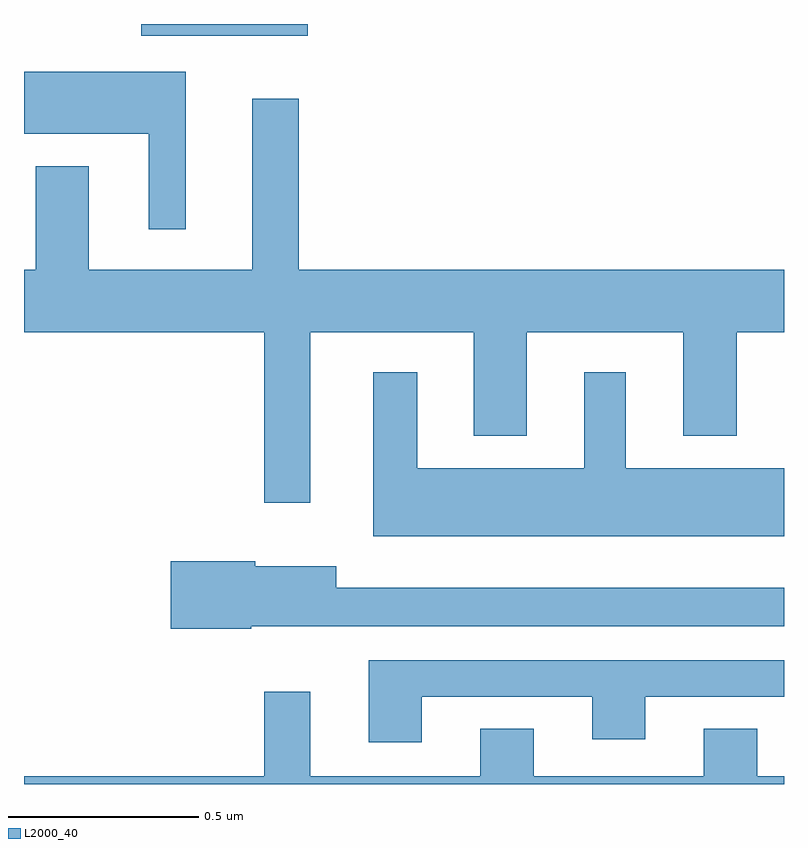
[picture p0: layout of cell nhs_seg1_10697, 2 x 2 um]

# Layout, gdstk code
import gdstk
lib = gdstk.Library(unit=1e-6, precision=1e-09)
def R(c, l, rs):  # rectangles x0, y0, x1, y1
    for r in rs: c.add(gdstk.rectangle(r[:2], r[2:], *l))
def P(c, l, *ps):  # polygons
    for p in ps: c.add(gdstk.Polygon(p, *l))
L2000_40 = (2000, 40)

nhs_seg1_10697 = lib.new_cell('nhs_seg1_10697')
R(nhs_seg1_10697, L2000_40, [(244.308,563.168,244.747,563.199)])
P(nhs_seg1_10697, L2000_40, [(244.426,563.074),(244,563.074),(244,562.91),(244.328,562.91),(244.328,562.659),(244.426,562.659)],
  [(244.753,562.388),(245.183,562.388),(245.183,562.115),(245.323,562.115),(245.323,562.388),(245.735,562.388),(245.735,562.115),(245.875,562.115),(245.875,562.388),(246,562.388),(246,562.552),(244.723,562.552),(244.723,563.002),(244.601,563.002),(244.601,562.552),(244.171,562.552),(244.171,562.825),(244.031,562.825),(244.031,562.552),(244,562.552),(244,562.388),(244.632,562.388),(244.632,561.939),(244.753,561.939)],
  [(246,562.03),(245.584,562.03),(245.584,562.282),(245.474,562.282),(245.474,562.03),(245.035,562.03),(245.035,562.282),(244.919,562.282),(244.919,561.851),(246,561.851)],
  [(244.598,561.614),(246,561.614),(246,561.715),(244.822,561.715),(244.822,561.772),(244.608,561.772),(244.608,561.785),(244.386,561.785),(244.386,561.607),(244.598,561.607)],
  [(245.047,561.429),(245.495,561.429),(245.495,561.317),(245.635,561.317),(245.635,561.429),(246,561.429),(246,561.525),(244.907,561.525),(244.907,561.309),(245.047,561.309)],
  [(246,561.22),(245.929,561.22),(245.929,561.344),(245.789,561.344),(245.789,561.22),(245.341,561.22),(245.341,561.344),(245.201,561.344),(245.201,561.22),(244.753,561.22),(244.753,561.442),(244.632,561.442),(244.632,561.22),(244,561.22),(244,561.199),(246,561.199)])

lib.write_gds('nhs_seg1_10697.gds')
